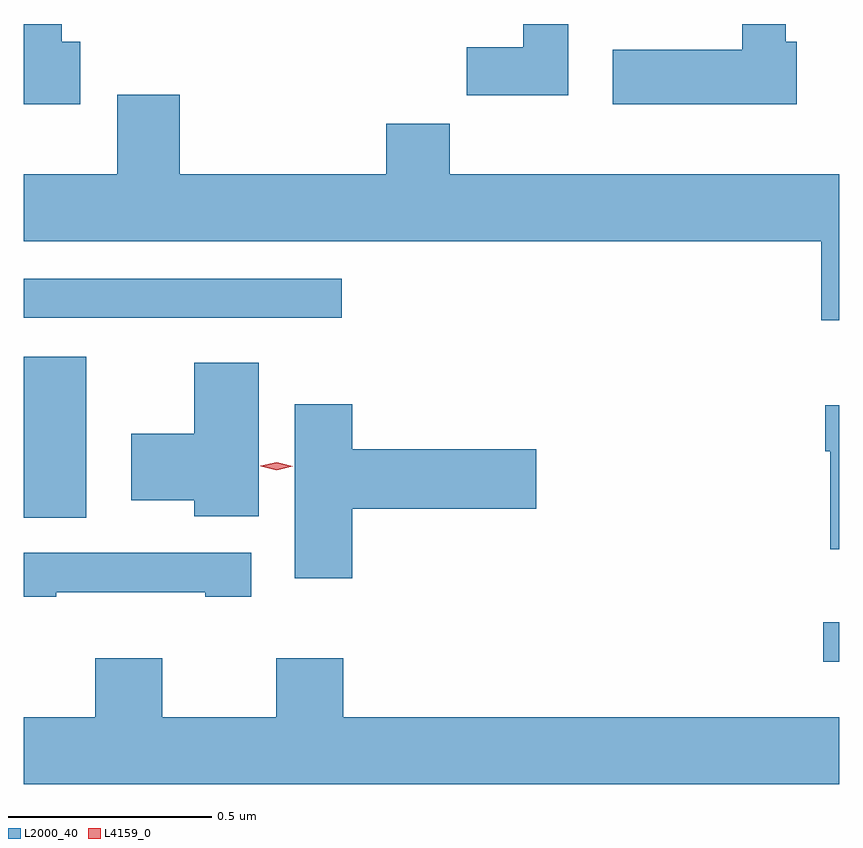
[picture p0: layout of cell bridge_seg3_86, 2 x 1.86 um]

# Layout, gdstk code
import gdstk
lib = gdstk.Library(unit=1e-6, precision=1e-09)
def R(c, l, rs):  # rectangles x0, y0, x1, y1
    for r in rs: c.add(gdstk.rectangle(r[:2], r[2:], *l))
def P(c, l, *ps):  # polygons
    for p in ps: c.add(gdstk.Polygon(p, *l))
L2000_40 = (2000, 40)
L4159_0 = (4159, 0)

bridge_seg3_86 = lib.new_cell('bridge_seg3_86')
R(bridge_seg3_86, L2000_40, [(420.627,690.56,420.666,690.657), (418.666,690.913,418.819,691.309), (418.666,691.404,419.446,691.5)])
P(bridge_seg3_86, L2000_40, [(420.562,692.082),(420.535,692.082),(420.535,692.125),(420.428,692.125),(420.428,692.062),(420.111,692.062),(420.111,691.928),(420.562,691.928)],
  [(418.804,692.082),(418.759,692.082),(418.759,692.125),(418.666,692.125),(418.666,691.928),(418.804,691.928)],
  [(420.001,692.125),(419.891,692.125),(419.891,692.068),(419.752,692.068),(419.752,691.95),(420.001,691.95)],
  [(420.666,691.756),(419.711,691.756),(419.711,691.88),(419.555,691.88),(419.555,691.756),(419.048,691.756),(419.048,691.951),(418.895,691.951),(418.895,691.756),(418.666,691.756),(418.666,691.592),(420.623,691.592),(420.623,691.398),(420.666,691.398)],
  [(419.242,691.294),(419.084,691.294),(419.084,691.12),(418.929,691.12),(418.929,690.956),(419.084,690.956),(419.084,690.917),(419.242,690.917)],
  [(419.471,690.935),(419.923,690.935),(419.923,691.082),(419.471,691.082),(419.471,691.192),(419.33,691.192),(419.33,690.765),(419.471,690.765)],
  [(420.666,691.189),(420.632,691.189),(420.632,691.076),(420.644,691.076),(420.644,690.836),(420.666,690.836)],
  [(418.745,690.731),(419.111,690.731),(419.111,690.72),(419.224,690.72),(419.224,690.828),(418.666,690.828),(418.666,690.72),(418.745,690.72)],
  [(420.666,690.424),(419.449,690.424),(419.449,690.568),(419.285,690.568),(419.285,690.424),(419.005,690.424),(419.005,690.568),(418.841,690.568),(418.841,690.424),(418.666,690.424),(418.666,690.26),(420.666,690.26)])
P(bridge_seg3_86, L4159_0, [(419.286,691.03),(419.247,691.04),(419.246,691.041),(419.247,691.041),(419.286,691.05),(419.325,691.04),(419.326,691.04),(419.325,691.04)])

lib.write_gds('bridge_seg3_86.gds')
